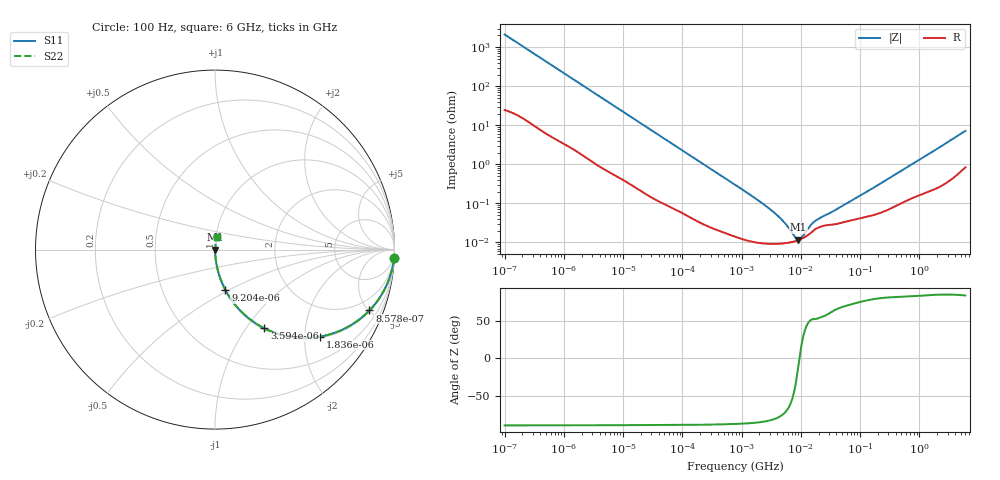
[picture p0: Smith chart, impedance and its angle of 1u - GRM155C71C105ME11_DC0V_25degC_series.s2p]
!Murata Part Number: GRM155C71C105ME11
!These Parameters are Measured in Series Mode Connection
!  o--ll--o
!Port1  Port2
!  o------o
!Operation Temp=25[degC], DC Bias Voltage=0[V]
!Freq. Start=100[Hz] Stop=6[GHz], 401[Steps]
!Data Generated on Oct 1, 2021
# Hz S RI R 50
!Freq.(Hz) S11(Real) S11(Imag) S21(Real) S21(Imag) S12(Real) S12(Imag) S22(Real) S22(Imag)
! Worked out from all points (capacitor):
!   401 points, 100 Hz to 6 GHz, reference 50 ohm
!   read as one part in series: C = 749 nF near 109.4 Hz
!   lowest |Z| = 11.7 mohm at 9.09 MHz (marker M1)
!   series resonance near 9.496 MHz, so ESL is about 380 pH
!   S11 on the Smith chart (normalised r, x): 100 Hz: 1, -42; 857.8 Hz: 1.08, -5.05; 1.836 kHz: 1.04, -2.38; 3.594 kHz: 1.02, -1.22; 9.204 kHz: 1.01, -0.48; 6 GHz: 1.02, +0.14
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100  0.9972 -0.047  0.00277 0.047  0.00277 0.047  0.9972 -0.047
320.3169  0.9762 -0.1454  0.0238 0.1454  0.0238 0.1454  0.9762 -0.1454
548.1815  0.9363 -0.2372  0.0637 0.2372  0.0637 0.2372  0.9363 -0.2372
857.7844  0.8605 -0.3389  0.1395 0.3389  0.1395 0.3389  0.8605 -0.3389
1227.273  0.7546 -0.4224  0.2454 0.4224  0.2454 0.4224  0.7546 -0.4224
1836.325  0.5842 -0.4848  0.4158 0.4848  0.4158 0.4848  0.5842 -0.4848
2008.354  0.5414 -0.4903  0.4586 0.4903  0.4586 0.4903  0.5414 -0.4903
3594.432  0.2752 -0.4387  0.7248 0.4387  0.7248 0.4387  0.2752 -0.4387
5624.501  0.1374 -0.3361  0.8626 0.3361  0.8626 0.3361  0.1374 -0.3361
9204.139  0.0585 -0.2259  0.9415 0.2259  0.9415 0.2259  0.0585 -0.2259
18016.23  0.0173 -0.1217  0.9827 0.1217  0.9827 0.1217  0.0173 -0.1217
40334.87  0.00422 -0.0556  0.9958 0.0556  0.9958 0.0556  0.00422 -0.0556
774596.7  0.00015 -0.00301  0.9999 0.00301  0.9999 0.00301  0.00015 -0.00301
3549919  9.21e-05 -0.000576  0.9999 0.000576  0.9999 0.000576  9.21e-05 -0.000576
5079039  9.46e-05 -0.000333  0.9999 0.000333  0.9999 0.000333  9.46e-05 -0.000333
7947587  0.000107 -8.88e-05  0.9999 8.88e-05  0.9999 8.88e-05  0.000107 -8.88e-05
9090158  0.000115 -2.16e-05  0.9999 2.16e-05  0.9999 2.16e-05  0.000115 -2.16e-05
1.039699e7  0.000125 4.47e-05  0.9999 -4.47e-05  0.9999 -4.47e-05  0.000125 4.47e-05
1.555665e7  0.000189 0.000239  0.9998 -0.000239  0.9998 -0.000239  0.000189 0.000239
1.946e7  0.000238 0.000315  0.9998 -0.000315  0.9998 -0.000315  0.000238 0.000315
3.124326e8  0.000733 0.0044  0.9993 -0.0044  0.9993 -0.0044  0.000733 0.0044
6e9  0.0133 0.0701  0.9867 -0.0701  0.9867 -0.0701  0.0133 0.0701
